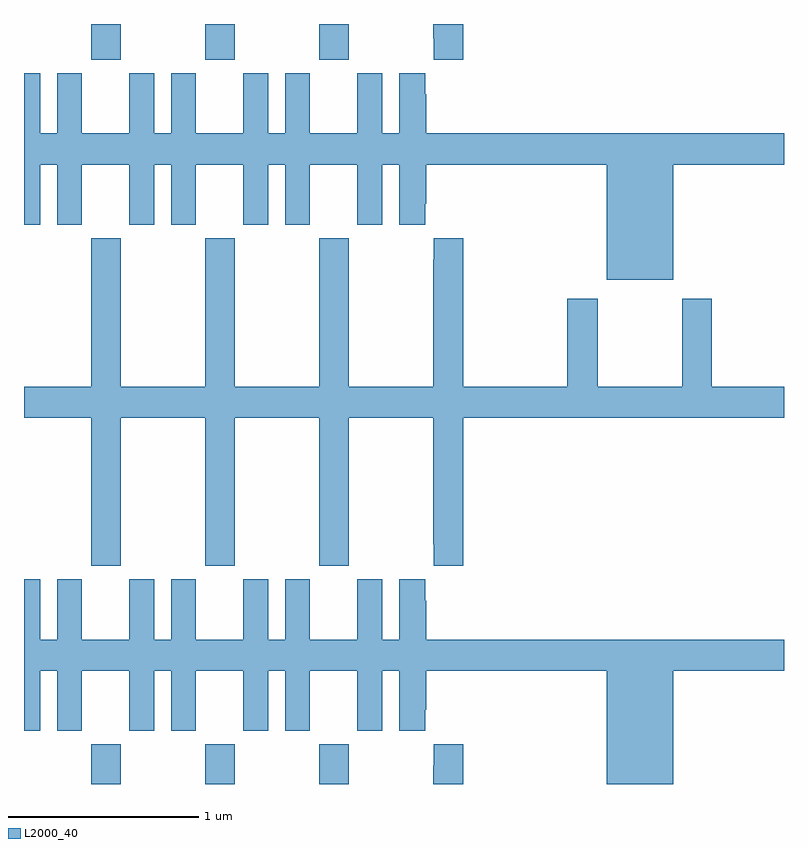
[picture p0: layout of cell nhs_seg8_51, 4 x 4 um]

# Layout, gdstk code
import gdstk
lib = gdstk.Library(unit=1e-6, precision=1e-09)
def R(c, l, rs):  # rectangles x0, y0, x1, y1
    for r in rs: c.add(gdstk.rectangle(r[:2], r[2:], *l))
def A(c, l, x, y, w, h, nx, ny, dx, dy):  # array of equal rectangles
    R(c, l, [(x+i*dx, y+j*dy, x+i*dx+w, y+j*dy+h) for i in range(nx) for j in range(ny)])
def P(c, l, *ps):  # polygons
    for p in ps: c.add(gdstk.Polygon(p, *l))
L2000_40 = (2000, 40)

nhs_seg8_51 = lib.new_cell('nhs_seg8_51')
A(nhs_seg8_51, L2000_40, 113.353, 1119.9, 0.155, 0.208, 3, 1, 0.6, 0)
A(nhs_seg8_51, L2000_40, 113.353, 1123.713, 0.155, 0.187, 3, 1, 0.6, 0)
P(nhs_seg8_51, L2000_40, [(115.313,1123.9),(115.153,1123.9),(115.153,1123.825),(115.157,1123.825),(115.157,1123.713),(115.313,1123.713)],
  [(116.416,1123.16),(117,1123.16),(117,1123.324),(115.118,1123.324),(115.118,1123.529),(115.111,1123.529),(115.111,1123.642),(114.974,1123.642),(114.974,1123.324),(114.886,1123.324),(114.886,1123.642),(114.755,1123.642),(114.755,1123.324),(114.505,1123.324),(114.505,1123.642),(114.374,1123.642),(114.374,1123.324),(114.286,1123.324),(114.286,1123.642),(114.155,1123.642),(114.155,1123.324),(113.905,1123.324),(113.905,1123.642),(113.774,1123.642),(113.774,1123.324),(113.686,1123.324),(113.686,1123.642),(113.555,1123.642),(113.555,1123.324),(113.305,1123.324),(113.305,1123.642),(113.174,1123.642),(113.174,1123.324),(113.086,1123.324),(113.086,1123.642),(113,1123.642),(113,1122.843),(113.086,1122.843),(113.086,1123.16),(113.174,1123.16),(113.174,1122.843),(113.305,1122.843),(113.305,1123.16),(113.555,1123.16),(113.555,1122.843),(113.686,1122.843),(113.686,1123.16),(113.774,1123.16),(113.774,1122.843),(113.905,1122.843),(113.905,1123.16),(114.155,1123.16),(114.155,1122.843),(114.286,1122.843),(114.286,1123.16),(114.374,1123.16),(114.374,1122.843),(114.505,1122.843),(114.505,1123.16),(114.755,1123.16),(114.755,1122.843),(114.886,1122.843),(114.886,1123.16),(114.974,1123.16),(114.974,1122.843),(115.111,1122.843),(115.111,1122.955),(115.118,1122.955),(115.118,1123.16),(116.066,1123.16),(116.066,1122.554),(116.416,1122.554)],
  [(113.508,1121.828),(113.953,1121.828),(113.953,1121.049),(114.108,1121.049),(114.108,1121.828),(114.553,1121.828),(114.553,1121.049),(114.708,1121.049),(114.708,1121.828),(115.153,1121.828),(115.153,1121.161),(115.157,1121.161),(115.157,1121.049),(115.313,1121.049),(115.313,1121.828),(117,1121.828),(117,1121.992),(116.619,1121.992),(116.619,1122.454),(116.464,1122.454),(116.464,1121.992),(116.019,1121.992),(116.019,1122.454),(115.859,1122.454),(115.859,1121.992),(115.313,1121.992),(115.313,1122.772),(115.157,1122.772),(115.157,1122.659),(115.153,1122.659),(115.153,1121.992),(114.708,1121.992),(114.708,1122.772),(114.553,1122.772),(114.553,1121.992),(114.108,1121.992),(114.108,1122.772),(113.953,1122.772),(113.953,1121.992),(113.508,1121.992),(113.508,1122.772),(113.353,1122.772),(113.353,1121.992),(113,1121.992),(113,1121.828),(113.353,1121.828),(113.353,1121.049),(113.508,1121.049)],
  [(116.416,1120.496),(117,1120.496),(117,1120.66),(115.118,1120.66),(115.118,1120.865),(115.111,1120.865),(115.111,1120.978),(114.974,1120.978),(114.974,1120.66),(114.886,1120.66),(114.886,1120.978),(114.755,1120.978),(114.755,1120.66),(114.505,1120.66),(114.505,1120.978),(114.374,1120.978),(114.374,1120.66),(114.286,1120.66),(114.286,1120.978),(114.155,1120.978),(114.155,1120.66),(113.905,1120.66),(113.905,1120.978),(113.774,1120.978),(113.774,1120.66),(113.686,1120.66),(113.686,1120.978),(113.555,1120.978),(113.555,1120.66),(113.305,1120.66),(113.305,1120.978),(113.174,1120.978),(113.174,1120.66),(113.086,1120.66),(113.086,1120.978),(113,1120.978),(113,1120.179),(113.086,1120.179),(113.086,1120.496),(113.174,1120.496),(113.174,1120.179),(113.305,1120.179),(113.305,1120.496),(113.555,1120.496),(113.555,1120.179),(113.686,1120.179),(113.686,1120.496),(113.774,1120.496),(113.774,1120.179),(113.905,1120.179),(113.905,1120.496),(114.155,1120.496),(114.155,1120.179),(114.286,1120.179),(114.286,1120.496),(114.374,1120.496),(114.374,1120.179),(114.505,1120.179),(114.505,1120.496),(114.755,1120.496),(114.755,1120.179),(114.886,1120.179),(114.886,1120.496),(114.974,1120.496),(114.974,1120.179),(115.111,1120.179),(115.111,1120.291),(115.118,1120.291),(115.118,1120.496),(116.066,1120.496),(116.066,1119.9),(116.416,1119.9)],
  [(115.313,1120.108),(115.157,1120.108),(115.157,1119.995),(115.153,1119.995),(115.153,1119.9),(115.313,1119.9)])

lib.write_gds('nhs_seg8_51.gds')
